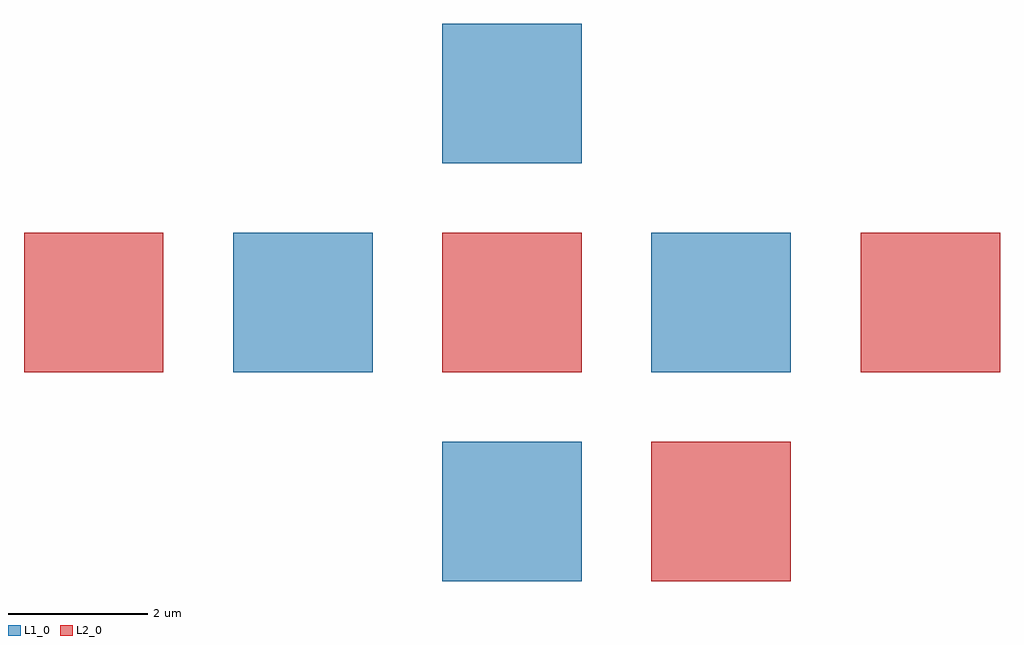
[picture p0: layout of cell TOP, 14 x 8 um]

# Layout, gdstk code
import gdstk
lib = gdstk.Library(unit=1e-6, precision=1e-09)
def R(c, l, rs):  # rectangles x0, y0, x1, y1
    for r in rs: c.add(gdstk.rectangle(r[:2], r[2:], *l))
def A(c, l, x, y, w, h, nx, ny, dx, dy):  # array of equal rectangles
    R(c, l, [(x+i*dx, y+j*dy, x+i*dx+w, y+j*dy+h) for i in range(nx) for j in range(ny)])
L1_0 = (1, 0)
L2_0 = (2, 0)

top = lib.new_cell('TOP')
R(top, L1_0, [(6,-3,8,-1), (3,0,5,2), (9,0,11,2), (6,3,8,5)])
A(top, L2_0, 0, 0, 2, 2, 3, 1, 6, 0)
R(top, L2_0, [(9,-3,11,-1)])

lib.write_gds('TOP.gds')
